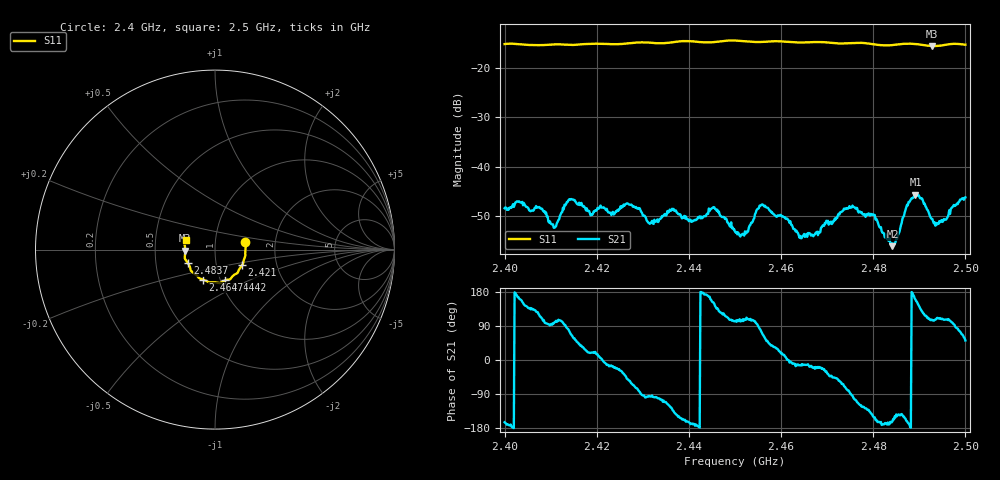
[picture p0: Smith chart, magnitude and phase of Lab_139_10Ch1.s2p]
# Hz S RI R 50
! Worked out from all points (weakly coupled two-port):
!   601 points, 2.4 GHz to 2.5 GHz, reference 50 ohm
!   highest |S21| = -45.63 dB at 2.4892 GHz (marker M1); lowest = -56.1 dB at 2.4842 GHz (marker M2)
!   lowest |S11| = -15.6 dB at 2.4928 GHz (marker M3), VSWR 1.40, Z = 35.8 - j0.375 ohm
!   |S11| at or under -10 dB: start of sweep to end of sweep
!   S12 and S22 are empty: the file has one direction only
!   S11 on the Smith chart (normalised r, x): 2.4 GHz: 1.40, +0.12; 2.421 GHz: 1.33, -0.24; 2.4442 GHz: 1.05, -0.37; 2.4647 GHz: 0.83, -0.29; 2.4837 GHz: 0.73, -0.11; 2.5 GHz: 0.72, +0.08
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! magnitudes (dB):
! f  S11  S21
! 2.4 GHz  -15.2  -48.4
! 2.4077 GHz  -15.4  -48.3
! 2.4107 GHz  -15.3  -52.3
! 2.414 GHz  -15.4  -46.6
! 2.4167 GHz  -15.3  -47.3
! 2.421 GHz  -15.2  -48.3
! 2.427 GHz  -15.1  -47.6
! 2.4333 GHz  -15.1  -51.2
! 2.4442 GHz  -14.9  -49.5
! 2.45 GHz  -14.5  -53.1
! 2.4523 GHz  -14.7  -53.5
! 2.456 GHz  -14.8  -47.6
! 2.4647 GHz  -14.9  -54.0
! 2.4667 GHz  -14.8  -53.7
! 2.4753 GHz  -15.0  -48.2
! 2.48 GHz  -15.3  -49.6
! 2.4833 GHz  -15.5  -55.0
! 2.4837 GHz  -15.5  -55.3
! 2.4842 GHz  -15.4  -56.1
! 2.4892 GHz  -15.2  -45.6
! 2.4928 GHz  -15.6  -50.6
! 2.5 GHz  -15.3  -46.2
